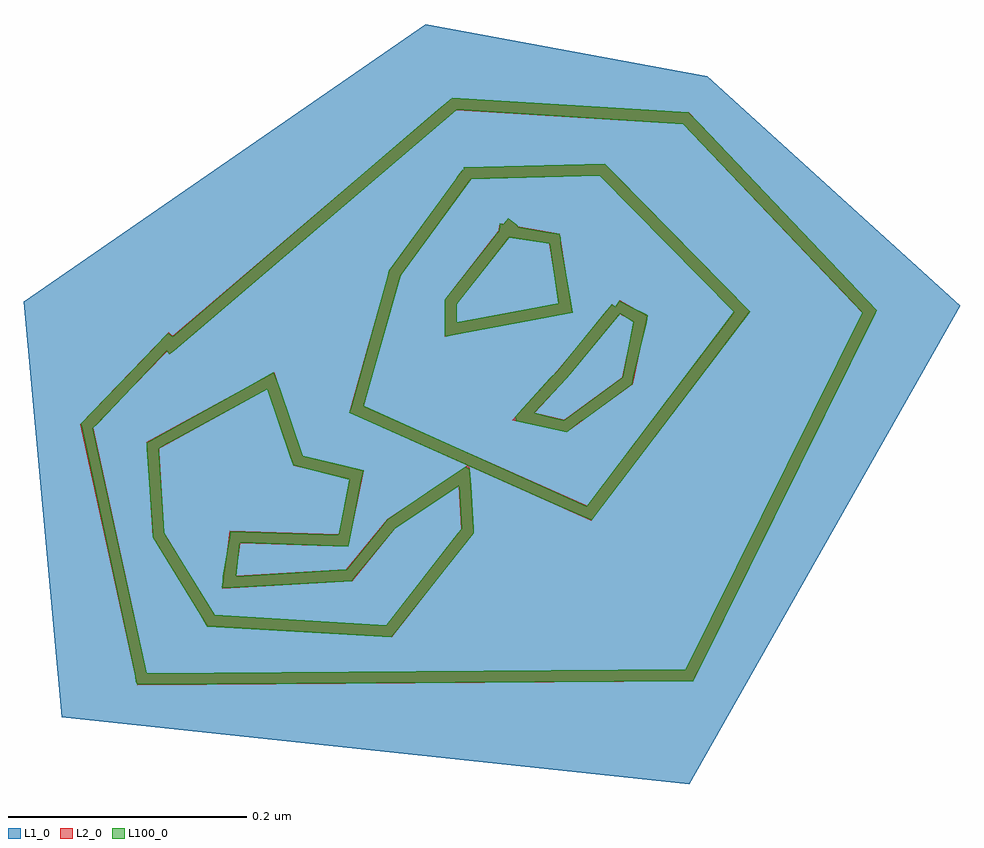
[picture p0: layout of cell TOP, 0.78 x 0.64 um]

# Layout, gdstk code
import gdstk
lib = gdstk.Library(unit=1e-6, precision=1e-09)
def R(c, l, rs):  # rectangles x0, y0, x1, y1
    for r in rs: c.add(gdstk.rectangle(r[:2], r[2:], *l))
def P(c, l, *ps):  # polygons
    for p in ps: c.add(gdstk.Polygon(p, *l))
L1_0 = (1, 0)
L2_0 = (2, 0)
L100_0 = (100, 0)

top = lib.new_cell('TOP')
P(top, L1_0, [(0.444,0.934),(-0.082,0.99),(-0.114,1.338),(0.223,1.571),(0.459,1.527),(0.671,1.335)])
R(top, L100_0, [(0.239,1.321,0.249,1.336), (0.285,1.401,0.3,1.402)])
P(top, L100_0, [(0.011,1.309),(0.233,1.499),(0.249,1.499),(0.026,1.309)],
  [(0.239,1.336),(0.239,1.34),(0.252,1.34),(0.249,1.336)],
  [(0.093,1.278),(0.095,1.279),(0.096,1.278)],
  [(-0.011,1.027),(0.441,1.03),(0.452,1.03),(0.45,1.027)],
  [(0.255,1.451),(0.373,1.454),(0.376,1.451)],
  [(0.157,1.114),(0.185,1.148),(0.197,1.148),(0.169,1.114)],
  [(0.194,1.057),(0.04,1.066),(0.201,1.066)],
  [(0.335,1.167),(0.159,1.245),(0.184,1.245),(0.358,1.167)],
  [(-0.02,1.02),(-0.021,1.027),(0.45,1.027),(0.447,1.02)],
  [(0.233,1.499),(0.245,1.509),(0.41,1.499)],
  [(0.388,1.327),(0.386,1.328),(0.407,1.328),(0.409,1.327)],
  [(0.052,1.099),(0.053,1.104),(0.161,1.104),(0.071,1.099)],
  [(0.38,1.269),(0.388,1.275),(0.397,1.275),(0.396,1.269)],
  [(-0.011,1.22),(0.07,1.265),(0.09,1.265),(0.008,1.22)],
  [(0.372,1.328),(0.377,1.334),(0.395,1.334),(0.407,1.328)],
  [(-0.011,1.215),(-0.011,1.219),(0.006,1.219),(-0.001,1.215)],
  [(-0.019,1.017),(-0.02,1.02),(0.447,1.02)],
  [(-0.007,1.297),(0.004,1.309),(0.026,1.309),(0.012,1.297)],
  [(0.004,1.309),(0.007,1.312),(0.011,1.309)],
  [(0.191,1.36),(0.192,1.364),(0.205,1.364),(0.202,1.36)],
  [(0.19,1.067),(0.25,1.144),(0.263,1.144),(0.202,1.067)],
  [(0.439,1.487),(0.281,1.497),(0.443,1.497),(0.453,1.487)],
  [(0.058,1.136),(0.059,1.143),(0.16,1.143),(0.159,1.136)],
  [(0.255,1.448),(0.255,1.451),(0.376,1.451),(0.379,1.448)],
  [(0.185,1.148),(0.191,1.156),(0.209,1.156),(0.197,1.148)],
  [(0.333,1.28),(0.372,1.328),(0.386,1.328),(0.346,1.28)],
  [(0.299,1.239),(0.298,1.242),(0.327,1.242),(0.339,1.239)],
  [(0.161,1.251),(0.191,1.36),(0.202,1.36),(0.171,1.251)],
  [(-0.021,1.027),(-0.065,1.232),(-0.056,1.232),(-0.011,1.027)],
  [(0.281,1.497),(0.249,1.499),(0.41,1.499),(0.443,1.497)],
  [(0.327,1.387),(0.293,1.392),(0.336,1.392),(0.336,1.387)],
  [(0.284,1.397),(0.285,1.401),(0.3,1.401),(0.323,1.397)],
  [(0.128,1.197),(0.112,1.201),(0.154,1.201),(0.171,1.197)],
  [(0.239,1.34),(0.28,1.392),(0.293,1.392),(0.252,1.34)],
  [(0.382,1.334),(0.385,1.339),(0.395,1.334)],
  [(0.232,1.184),(0.253,1.198),(0.26,1.198),(0.261,1.184)],
  [(0.159,1.245),(0.161,1.251),(0.171,1.251),(0.184,1.245)],
  [(0.298,1.242),(0.301,1.245),(0.314,1.245),(0.327,1.242)],
  [(0.292,1.329),(0.334,1.337),(0.345,1.337),(0.346,1.329)],
  [(0.299,1.238),(0.299,1.239),(0.355,1.239),(0.353,1.238)],
  [(0.301,1.245),(0.327,1.274),(0.341,1.274),(0.314,1.245)],
  [(0.04,1.066),(0.039,1.067),(0.202,1.067),(0.201,1.066)],
  [(0.339,1.239),(0.38,1.269),(0.396,1.269),(0.355,1.239)],
  [(0.25,1.144),(0.253,1.148),(0.263,1.148),(0.263,1.144)],
  [(0.358,1.167),(0.481,1.33),(0.495,1.33),(0.371,1.167)],
  [(0.112,1.201),(0.109,1.209),(0.12,1.209),(0.154,1.201)],
  [(0.288,1.403),(0.292,1.408),(0.299,1.403)],
  [(0.28,1.392),(0.282,1.395),(0.335,1.395),(0.336,1.392)],
  [(0.07,1.265),(0.093,1.278),(0.096,1.278),(0.101,1.265)],
  [(-0.065,1.232),(-0.066,1.236),(-0.052,1.236),(-0.056,1.232)],
  [(0.589,1.329),(0.587,1.331),(0.601,1.331),(0.6,1.329)],
  [(0.24,1.309),(0.239,1.31),(0.245,1.31)],
  [(0.053,1.104),(0.053,1.108),(0.164,1.108),(0.161,1.104)],
  [(0.192,1.364),(0.248,1.441),(0.261,1.441),(0.205,1.364)],
  [(0.441,1.03),(0.589,1.329),(0.6,1.329),(0.452,1.03)],
  [(0.334,1.337),(0.327,1.387),(0.336,1.387),(0.345,1.337)],
  [(-0.006,1.141),(-0.006,1.145),(0.004,1.145),(0.006,1.141)],
  [(0.377,1.334),(0.379,1.336),(0.382,1.334)],
  [(0.053,1.098),(0.052,1.099),(0.071,1.099)],
  [(0.239,1.31),(0.239,1.321),(0.304,1.321),(0.245,1.31)],
  [(0.158,1.133),(0.067,1.136),(0.159,1.136)],
  [(0.053,1.108),(0.058,1.136),(0.067,1.136),(0.064,1.108)],
  [(0.15,1.143),(0.159,1.189),(0.169,1.189),(0.16,1.143)],
  [(0.285,1.403),(0.285,1.404),(0.288,1.403)],
  [(0.481,1.33),(0.369,1.444),(0.383,1.444),(0.495,1.33)],
  [(0.191,1.156),(0.232,1.184),(0.251,1.184),(0.209,1.156)],
  [(0.064,1.108),(0.157,1.114),(0.169,1.114),(0.164,1.108)],
  [(0.25,1.444),(0.253,1.448),(0.379,1.448),(0.383,1.444)],
  [(0.109,1.209),(0.09,1.265),(0.101,1.265),(0.12,1.209)],
  [(0.362,1.155),(0.335,1.167),(0.371,1.167)],
  [(0.587,1.331),(0.439,1.487),(0.453,1.487),(0.601,1.331)],
  [(0.253,1.448),(0.254,1.449),(0.255,1.448)],
  [(-0.011,1.219),(-0.011,1.22),(0.008,1.22),(0.006,1.219)],
  [(-0.006,1.145),(-0.011,1.215),(-0.001,1.215),(0.004,1.145)],
  [(0.388,1.275),(0.397,1.321),(0.408,1.321),(0.397,1.275)],
  [(0.159,1.189),(0.128,1.197),(0.171,1.197),(0.169,1.189)],
  [(0.034,1.076),(-0.006,1.141),(0.006,1.141),(0.046,1.076)],
  [(0.327,1.274),(0.333,1.28),(0.346,1.28),(0.341,1.274)],
  [(0.248,1.441),(0.25,1.444),(0.369,1.444),(0.261,1.441)],
  [(0.249,1.321),(0.292,1.329),(0.346,1.329),(0.304,1.321)],
  [(0.253,1.148),(0.251,1.184),(0.261,1.184),(0.263,1.148)],
  [(0.059,1.143),(0.059,1.146),(0.15,1.143)],
  [(0.397,1.321),(0.388,1.327),(0.409,1.327),(0.408,1.321)],
  [(0.253,1.198),(0.256,1.2),(0.26,1.198)],
  [(0.341,1.229),(0.299,1.238),(0.353,1.238)],
  [(0.285,1.402),(0.285,1.403),(0.299,1.403),(0.3,1.402)],
  [(0.008,1.294),(0.006,1.297),(0.012,1.297)],
  [(-0.066,1.236),(-0.007,1.297),(0.006,1.297),(-0.052,1.236)],
  [(0.282,1.395),(0.284,1.397),(0.323,1.397),(0.335,1.395)],
  [(0.039,1.067),(0.034,1.076),(0.046,1.076),(0.19,1.067)])
top.add(gdstk.FlexPath([(0.255,1.446),(0.371,1.449),(0.488,1.33),(0.36,1.161),(0.165,1.248),(0.197,1.362),(0.258,1.446)], 0.01, ends="flush", simple_path=True, layer=2, datatype=0))  # L2_0
top.add(gdstk.FlexPath([(-0.009,1.216),(0.093,1.272),(0.116,1.205),(0.165,1.193),(0.154,1.138),(0.063,1.141),(0.058,1.103),(0.159,1.109),(0.194,1.152),(0.255,1.193),(0.258,1.146),(0.192,1.062),(0.043,1.071),(-0.001,1.143),(-0.006,1.219)], 0.01, ends="flush", simple_path=True, layer=2, datatype=0))  # L2_0
top.add(gdstk.FlexPath([(0.383,1.335),(0.403,1.324),(0.392,1.272),(0.34,1.234),(0.305,1.242),(0.337,1.277),(0.383,1.333)], 0.01, ends="flush", simple_path=True, layer=2, datatype=0))  # L2_0
top.add(gdstk.FlexPath([(0.284,1.399),(0.331,1.391),(0.34,1.333),(0.244,1.315),(0.244,1.338),(0.296,1.405)], 0.01, ends="flush", simple_path=True, layer=2, datatype=0))  # L2_0
top.add(gdstk.FlexPath([(0.005,1.298),(0.247,1.504),(0.441,1.492),(0.595,1.33),(0.444,1.025),(-0.015,1.022),(-0.061,1.234),(0.011,1.309)], 0.01, ends="flush", simple_path=True, layer=2, datatype=0))  # L2_0

lib.write_gds('TOP.gds')
